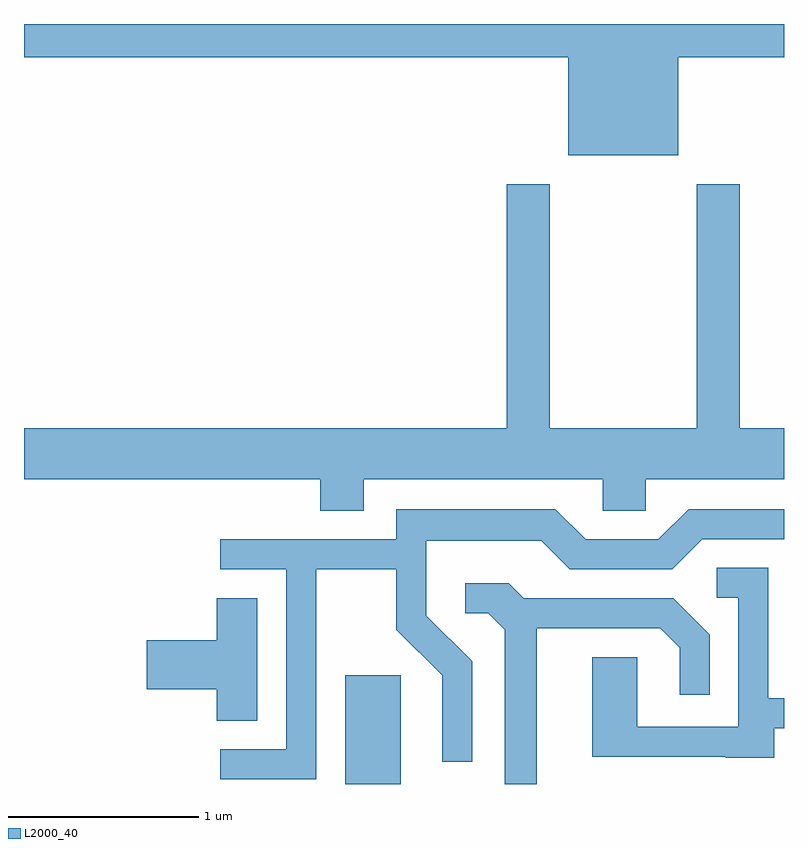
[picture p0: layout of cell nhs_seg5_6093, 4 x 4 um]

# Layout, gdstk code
import gdstk
lib = gdstk.Library(unit=1e-6, precision=1e-09)
def R(c, l, rs):  # rectangles x0, y0, x1, y1
    for r in rs: c.add(gdstk.rectangle(r[:2], r[2:], *l))
def P(c, l, *ps):  # polygons
    for p in ps: c.add(gdstk.Polygon(p, *l))
L2000_40 = (2000, 40)

nhs_seg5_6093 = lib.new_cell('nhs_seg5_6093')
R(nhs_seg5_6093, L2000_40, [(367.301,1464.072,367.594,1464.644)])
P(nhs_seg5_6093, L2000_40, [(369.054,1467.896),(369.611,1467.896),(369.611,1468.072),(365.611,1468.072),(365.611,1467.896),(368.476,1467.896),(368.476,1467.381),(369.054,1467.381)],
  [(368.656,1465.511),(368.884,1465.511),(368.884,1465.676),(369.611,1465.676),(369.611,1465.944),(369.379,1465.944),(369.379,1467.229),(369.151,1467.229),(369.151,1465.944),(368.379,1465.944),(368.379,1467.229),(368.151,1467.229),(368.151,1465.944),(365.611,1465.944),(365.611,1465.676),(367.171,1465.676),(367.171,1465.511),(367.399,1465.511),(367.399,1465.676),(368.656,1465.676)],
  [(367.149,1465.201),(367.571,1465.201),(367.571,1464.884),(367.811,1464.644),(367.811,1464.188),(367.969,1464.188),(367.969,1464.717),(367.729,1464.957),(367.729,1465.351),(368.334,1465.351),(368.484,1465.201),(369.022,1465.201),(369.182,1465.361),(369.611,1465.361),(369.611,1465.519),(369.109,1465.519),(368.949,1465.359),(368.567,1465.359),(368.407,1465.519),(367.571,1465.519),(367.571,1465.359),(366.643,1465.359),(366.643,1465.201),(366.991,1465.201),(366.991,1464.254),(366.643,1464.254),(366.643,1464.096),(367.149,1464.096)],
  [(369.559,1464.366),(369.611,1464.366),(369.611,1464.524),(369.529,1464.524),(369.529,1465.209),(369.258,1465.209),(369.258,1465.051),(369.371,1465.051),(369.371,1464.374),(368.839,1464.374),(368.839,1464.739),(368.601,1464.739),(368.601,1464.216),(369.305,1464.216),(369.305,1464.211),(369.559,1464.211)],
  [(368.309,1464.891),(368.959,1464.891),(369.061,1464.789),(369.061,1464.543),(369.219,1464.543),(369.219,1464.857),(369.027,1465.049),(368.242,1465.049),(368.162,1465.129),(367.933,1465.129),(367.933,1464.971),(368.054,1464.971),(368.141,1464.884),(368.141,1464.072),(368.309,1464.072)],
  [(366.839,1465.049),(366.626,1465.049),(366.626,1464.829),(366.256,1464.829),(366.256,1464.571),(366.626,1464.571),(366.626,1464.406),(366.839,1464.406)])

lib.write_gds('nhs_seg5_6093.gds')
